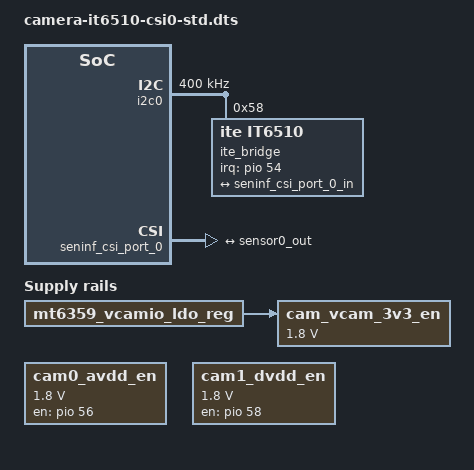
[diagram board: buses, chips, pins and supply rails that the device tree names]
// SPDX-License-Identifier: GPL-2.0
/*
 * Copyright (c) 2023 MediaTek Inc.
 *
 */

#include <dt-bindings/clock/mt8195-clk.h>
#include <dt-bindings/gpio/gpio.h>
#include <dt-bindings/pinctrl/mt8195-pinfunc.h>

/dts-v1/;
/plugin/;

#include "isp70.dtsi"

/ {
	fragment@4 {
		target-path = "/";
		__overlay__ {
			cam0_avdd_en: cam0-avdd-en-regulator {
				compatible = "regulator-fixed";
				regulator-name = "cam0_avdd_en";
				regulator-min-microvolt = <1800000>;
				regulator-max-microvolt = <1800000>;
				gpio = <&pio 56 0>;
				startup-delay-us = <18000>;
				enable-active-high;
				regulator-always-on;
				pinctrl-names = "default";
				pinctrl-0 = <&cam0_avdd_en_pins>;
			};

			cam1_dvdd_en: cam1-dvdd-en-regulator {
				compatible = "regulator-fixed";
				regulator-name = "cam1_dvdd_en";
				regulator-min-microvolt = <1800000>;
				regulator-max-microvolt = <1800000>;
				gpio = <&pio 58 0>;
				startup-delay-us = <18000>;
				enable-active-high;
				regulator-always-on;
				pinctrl-names = "default";
				pinctrl-0 = <&cam1_dvdd_en_pins>;
			};

			cam_vcam_3v3_en: cam-vcam-3v3-en-regulator {
				compatible = "regulator-fixed";
				regulator-name = "cam_vcam_3v3_en";
				regulator-min-microvolt = <1800000>;
				regulator-max-microvolt = <1800000>;
				vin-supply = <&mt6359_vcamio_ldo_reg>;
				enable-active-high;
				regulator-always-on;
			};
		};
	};

	fragment@5 {
		target = <&pio>;
		__overlay__ {
			cam0_pins_default: cam0_pins_default {
				pins_cmd_dat {
					pinmux = <PINMUX_GPIO54__FUNC_GPIO54>,
						 <PINMUX_GPIO55__FUNC_GPIO55>;
				};
			};

			cam0_avdd_en_pins: cam0-avdd-en-pins {
				pins_cmd_dat {
					pinmux = <PINMUX_GPIO56__FUNC_GPIO56>;
				};
			};

			cam1_dvdd_en_pins: cam1-dvdd-en-pins {
				pins_cmd_dat {
					pinmux = <PINMUX_GPIO58__FUNC_GPIO58>;
				};
			};
		};
	};

	fragment@6 {
		target = <&i2c0>;
		__overlay__ {
			clock-frequency = <400000>;

			ite_bridge: it6510@58 {
				compatible = "ite,it6510";

				reg = <0x58>;
				status = "okay";

				pinctrl-names = "default";
				pinctrl-0 = <&cam0_pins_default>;

				interrupt-parent = <&pio>;
				interrupts = <54 IRQ_TYPE_LEVEL_LOW>;

				dp-lanes = /bits/ 8 <4>;
				dp-bitrate = /bits/ 8 <0x14>;

				port {
					sensor0_out: endpoint {
						remote-endpoint = <&seninf_csi_port_0_in>;
						data-lanes = <1 2 3 4>;
						link-frequencies = /bits/ 64 <480000000>;
					};
				};
			};
		};
	};

	fragment@7 {
		target = <&seninf_top>;
		__overlay__ {
			seninf_csi_port_0: seninf_csi_port_0 {
				compatible = "mediatek,seninf";
				csi-port = "0";
				hs_trail_parameter = <0x0>;

				port {
					seninf_csi_port_0_in: endpoint {
						remote-endpoint = <&sensor0_out>;
						data-lanes = <1 2 3 4>;
					};
				};
			};
		};
	};

	fragment@8 {
		target = <&imgsys_fw>;
		__overlay__ {
			status = "disabled";
		};
	};

	fragment@9 {
		target = <&hcp>;
		__overlay__ {
			status = "disabled";
		};
	};

	fragment@10 {
		target-path = "/soc/imgsys_larb";
		__overlay__ {
			status = "disabled";
		};
	};

	fragment@11 {
		target = <&ipesys_me>;
		__overlay__ {
			status = "disabled";
		};
	};
};
